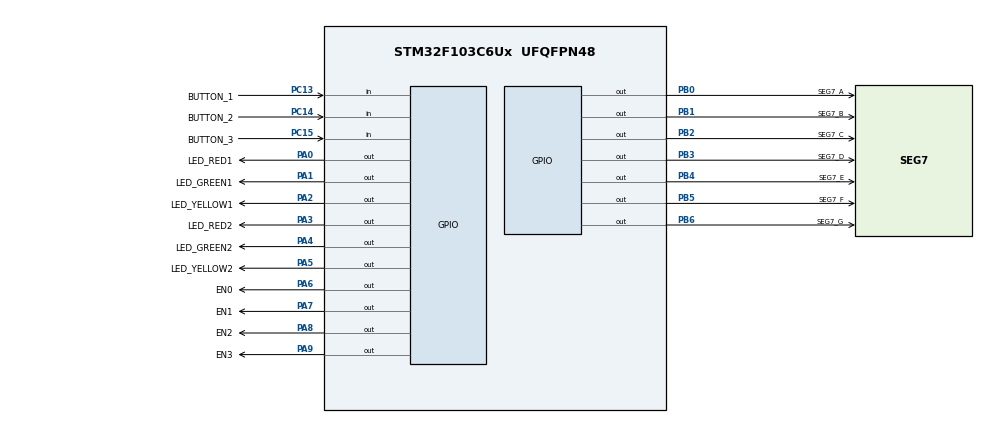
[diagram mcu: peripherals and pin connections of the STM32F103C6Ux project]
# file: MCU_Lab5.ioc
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Mcu.Family=STM32F1
Mcu.Name=STM32F103C6Ux
Mcu.Package=UFQFPN48
NVIC.PriorityGroup=NVIC_PRIORITYGROUP_4
NVIC.TIM2_IRQn=true\:0\:0\:false\:false\:true\:true\:true
PA0-WKUP.GPIO_Label=LED_RED1
PA0-WKUP.Signal=GPIO_Output
PA1.GPIO_Label=LED_GREEN1
PA1.Signal=GPIO_Output
PA2.GPIO_Label=LED_YELLOW1
PA2.Signal=GPIO_Output
PA3.GPIO_Label=LED_RED2
PA3.Signal=GPIO_Output
PA4.GPIO_Label=LED_GREEN2
PA4.Signal=GPIO_Output
PA5.GPIO_Label=LED_YELLOW2
PA5.Signal=GPIO_Output
PA6.GPIO_Label=EN0
PA6.Signal=GPIO_Output
PA7.GPIO_Label=EN1
PA7.Signal=GPIO_Output
PA8.GPIO_Label=EN2
PA8.Signal=GPIO_Output
PA9.GPIO_Label=EN3
PA9.Signal=GPIO_Output
PB0.GPIO_Label=SEG7_A
PB0.Signal=GPIO_Output
PB1.GPIO_Label=SEG7_B
PB1.Signal=GPIO_Output
PB2.GPIO_Label=SEG7_C
PB2.Signal=GPIO_Output
PB3.GPIO_Label=SEG7_D
PB3.Signal=GPIO_Output
PB4.GPIO_Label=SEG7_E
PB4.Signal=GPIO_Output
PB5.GPIO_Label=SEG7_F
PB5.Signal=GPIO_Output
PB6.GPIO_Label=SEG7_G
PB6.Signal=GPIO_Output
PC13-TAMPER-RTC.GPIO_Label=BUTTON_1
PC13-TAMPER-RTC.GPIO_PuPd=GPIO_PULLUP
PC13-TAMPER-RTC.Signal=GPIO_Input
PC14-OSC32_IN.GPIO_Label=BUTTON_2
PC14-OSC32_IN.GPIO_PuPd=GPIO_PULLUP
PC14-OSC32_IN.Signal=GPIO_Input
PC15-OSC32_OUT.GPIO_Label=BUTTON_3
PC15-OSC32_OUT.GPIO_PuPd=GPIO_PULLUP
PC15-OSC32_OUT.Signal=GPIO_Input
ProjectManager.HeapSize=0x200
ProjectManager.StackSize=0x400
ProjectManager.TargetToolchain=STM32CubeIDE
RCC.APB1Freq_Value=8000000
RCC.APB2Freq_Value=8000000
TIM2.Period=9
TIM2.Prescaler=7999
VP_SYS_VS_ND.Mode=No_Debug
VP_TIM2_VS_ClockSourceINT.Mode=Internal
board=custom

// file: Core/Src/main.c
/* USER CODE BEGIN Header */
/**
  ******************************************************************************
  * @file           : main.c
  * @brief          : Main program body
  ******************************************************************************
  * @attention
  *
  * <h2><center>&copy; Copyright (c) 2023 STMicroelectronics.
  * All rights reserved.</center></h2>
  *
  * This software component is licensed by ST under BSD 3-Clause license,
  * the "License"; You may not use this file except in compliance with the
  * License. You may obtain a copy of the License at:
  *                        opensource.org/licenses/BSD-3-Clause
  *
  ******************************************************************************
  */
/* USER CODE END Header */
#include "main.h"

/* USER CODE BEGIN Includes */
#include "scheduler.h"
#include "button.h"
#include "fsm_automatic.h"
#include "fsm_manual.h"
/* USER CODE END Includes */

TIM_HandleTypeDef htim2;

void SystemClock_Config(void);
static void MX_TIM2_Init(void);
static void MX_GPIO_Init(void);

int main(void)
{

  /* MCU Configuration--------------------------------------------------------*/

  /* Reset of all peripherals, Initializes the Flash interface and the Systick. */
  HAL_Init();

  /* Configure the system clock */
  SystemClock_Config();

  /* Initialize all configured peripherals */
  MX_TIM2_Init();
  MX_GPIO_Init();
  /* USER CODE BEGIN 2 */
  HAL_TIM_Base_Start_IT(&htim2);
  /* USER CODE END 2 */

  /* Infinite loop */
  /* USER CODE BEGIN WHILE */
  status = INIT;
  index_led = 0;
  SCH_Init();
  SCH_Add_Task(update4_7SEG, 26, 25);
  SCH_Add_Task(fsm_automatic_run, 1, 1);
  SCH_Add_Task(fsm_manual_run, 1, 1);
  while (1)
  {

	  SCH_Dispatch_Tasks();
    /* USER CODE END WHILE */

  }
}

void SystemClock_Config(void)
{
  RCC_OscInitTypeDef RCC_OscInitStruct = {0};
  RCC_ClkInitTypeDef RCC_ClkInitStruct = {0};

  /** Initializes the RCC Oscillators according to the specified parameters
  * in the RCC_OscInitTypeDef structure.
  */
  RCC_OscInitStruct.OscillatorType = RCC_OSCILLATORTYPE_HSI;
  RCC_OscInitStruct.HSIState = RCC_HSI_ON;
  RCC_OscInitStruct.HSICalibrationValue = RCC_HSICALIBRATION_DEFAULT;
  RCC_OscInitStruct.PLL.PLLState = RCC_PLL_NONE;
  if (HAL_RCC_OscConfig(&RCC_OscInitStruct) != HAL_OK)
  {
    Error_Handler();
  }
  /** Initializes the CPU, AHB and APB buses clocks
  */
  RCC_ClkInitStruct.ClockType = RCC_CLOCKTYPE_HCLK|RCC_CLOCKTYPE_SYSCLK
                              |RCC_CLOCKTYPE_PCLK1|RCC_CLOCKTYPE_PCLK2;
  RCC_ClkInitStruct.SYSCLKSource = RCC_SYSCLKSOURCE_HSI;
  RCC_ClkInitStruct.AHBCLKDivider = RCC_SYSCLK_DIV1;
  RCC_ClkInitStruct.APB1CLKDivider = RCC_HCLK_DIV1;
  RCC_ClkInitStruct.APB2CLKDivider = RCC_HCLK_DIV1;

  if (HAL_RCC_ClockConfig(&RCC_ClkInitStruct, FLASH_LATENCY_0) != HAL_OK)
  {
    Error_Handler();
  }
}

static void MX_TIM2_Init(void)
{

  TIM_ClockConfigTypeDef sClockSourceConfig = {0};
  TIM_MasterConfigTypeDef sMasterConfig = {0};

  htim2.Instance = TIM2;
  htim2.Init.Prescaler = 7999;
  htim2.Init.CounterMode = TIM_COUNTERMODE_UP;
  htim2.Init.Period = 9;
  htim2.Init.ClockDivision = TIM_CLOCKDIVISION_DIV1;
  htim2.Init.AutoReloadPreload = TIM_AUTORELOAD_PRELOAD_DISABLE;
  if (HAL_TIM_Base_Init(&htim2) != HAL_OK)
  {
    Error_Handler();
  }
  sClockSourceConfig.ClockSource = TIM_CLOCKSOURCE_INTERNAL;
  if (HAL_TIM_ConfigClockSource(&htim2, &sClockSourceConfig) != HAL_OK)
  {
    Error_Handler();
  }
  sMasterConfig.MasterOutputTrigger = TIM_TRGO_RESET;
  sMasterConfig.MasterSlaveMode = TIM_MASTERSLAVEMODE_DISABLE;
  if (HAL_TIMEx_MasterConfigSynchronization(&htim2, &sMasterConfig) != HAL_OK)
  {
    Error_Handler();
  }

}

static void MX_GPIO_Init(void)
{
  GPIO_InitTypeDef GPIO_InitStruct = {0};

  /* GPIO Ports Clock Enable */
  __HAL_RCC_GPIOC_CLK_ENABLE();
  __HAL_RCC_GPIOA_CLK_ENABLE();
  __HAL_RCC_GPIOB_CLK_ENABLE();

  /*Configure GPIO pin Output Level */
  HAL_GPIO_WritePin(GPIOA, LED_RED1_Pin|LED_GREEN1_Pin|LED_YELLOW1_Pin|LED_RED2_Pin
                          |LED_GREEN2_Pin|LED_YELLOW2_Pin|EN0_Pin|EN1_Pin
                          |EN2_Pin|EN3_Pin, GPIO_PIN_RESET);

  /*Configure GPIO pin Output Level */
  HAL_GPIO_WritePin(GPIOB, SEG7_A_Pin|SEG7_B_Pin|SEG7_C_Pin|SEG7_D_Pin
                          |SEG7_E_Pin|SEG7_F_Pin|SEG7_G_Pin, GPIO_PIN_RESET);

  /*Configure GPIO pins : BUTTON_1_Pin BUTTON_2_Pin BUTTON_3_Pin */
  GPIO_InitStruct.Pin = BUTTON_1_Pin|BUTTON_2_Pin|BUTTON_3_Pin;
  GPIO_InitStruct.Mode = GPIO_MODE_INPUT;
  GPIO_InitStruct.Pull = GPIO_PULLUP;
  HAL_GPIO_Init(GPIOC, &GPIO_InitStruct);

  /*Configure GPIO pins : LED_RED1_Pin LED_GREEN1_Pin LED_YELLOW1_Pin LED_RED2_Pin
                           LED_GREEN2_Pin LED_YELLOW2_Pin EN0_Pin EN1_Pin
                           EN2_Pin EN3_Pin */
  GPIO_InitStruct.Pin = LED_RED1_Pin|LED_GREEN1_Pin|LED_YELLOW1_Pin|LED_RED2_Pin
                          |LED_GREEN2_Pin|LED_YELLOW2_Pin|EN0_Pin|EN1_Pin
                          |EN2_Pin|EN3_Pin;
  GPIO_InitStruct.Mode = GPIO_MODE_OUTPUT_PP;
  GPIO_InitStruct.Pull = GPIO_NOPULL;
  GPIO_InitStruct.Speed = GPIO_SPEED_FREQ_LOW;
  HAL_GPIO_Init(GPIOA, &GPIO_InitStruct);

  /*Configure GPIO pins : SEG7_A_Pin SEG7_B_Pin SEG7_C_Pin SEG7_D_Pin
                           SEG7_E_Pin SEG7_F_Pin SEG7_G_Pin */
  GPIO_InitStruct.Pin = SEG7_A_Pin|SEG7_B_Pin|SEG7_C_Pin|SEG7_D_Pin
                          |SEG7_E_Pin|SEG7_F_Pin|SEG7_G_Pin;
  GPIO_InitStruct.Mode = GPIO_MODE_OUTPUT_PP;
  GPIO_InitStruct.Pull = GPIO_NOPULL;
  GPIO_InitStruct.Speed = GPIO_SPEED_FREQ_LOW;
  HAL_GPIO_Init(GPIOB, &GPIO_InitStruct);

}

/* USER CODE BEGIN 4 */
void HAL_TIM_PeriodElapsedCallback(TIM_HandleTypeDef *htim){
	SCH_Update();
	getKeyInput();
}
/* USER CODE END 4 */

void Error_Handler(void)
{
  __disable_irq();
  while (1)
  {
  }
}

/************************ (C) COPYRIGHT STMicroelectronics *****END OF FILE****/
